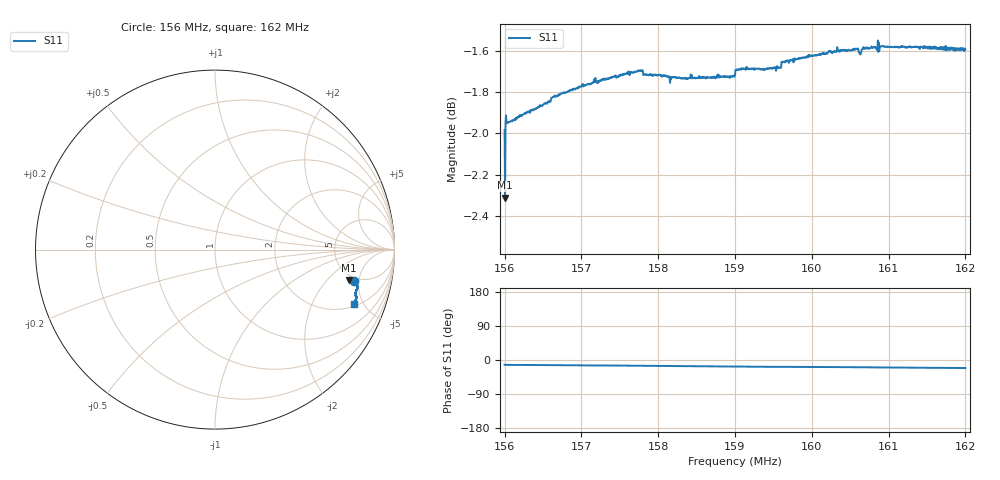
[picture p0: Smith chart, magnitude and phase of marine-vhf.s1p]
! Calibrated averaged scanner-service zoom
# Hz S RI R 50
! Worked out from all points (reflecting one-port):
!   1001 points, 156 MHz to 162 MHz, reference 50 ohm
!   lowest |S11| = -2.3 dB at 156.01 MHz (marker M1), VSWR 7.56, Z = 223 - j183 ohm
!   phase of S11 starts at -13 deg and turns -9 deg over the sweep
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1.56e8  0.7767 -0.1737
1.56006e8  0.7472 -0.1698
1.56036e8  0.7794 -0.1774
1.56042e8  0.7791 -0.1775
1.5675e8  0.7893 -0.193
1.5714e8  0.7914 -0.2027
1.57236e8  0.7922 -0.2035
1.575e8  0.7929 -0.21
1.5777e8  0.7944 -0.2148
1.57836e8  0.7918 -0.2166
1.5825e8  0.7875 -0.2265
1.5837e8  0.7864 -0.2297
1.58442e8  0.785 -0.2339
1.58964e8  0.7826 -0.2446
1.59e8  0.7831 -0.2451
1.59036e8  0.7857 -0.2453
1.5909e8  0.786 -0.2458
1.59564e8  0.7833 -0.2562
1.59636e8  0.7861 -0.2562
1.5975e8  0.7863 -0.2582
1.6023e8  0.7883 -0.2656
1.605e8  0.7869 -0.2709
1.60638e8  0.7852 -0.2708
1.60692e8  0.7863 -0.2745
1.60764e8  0.7862 -0.276
1.60866e8  0.7828 -0.2801
1.6125e8  0.7824 -0.2873
1.62e8  0.7761 -0.301
